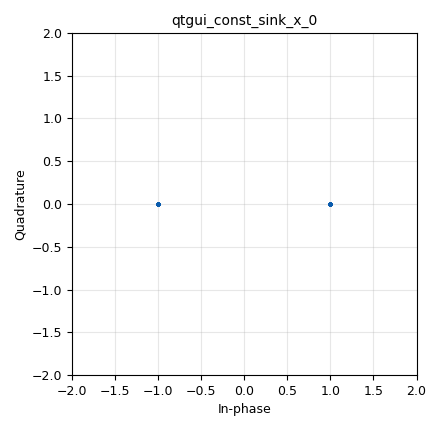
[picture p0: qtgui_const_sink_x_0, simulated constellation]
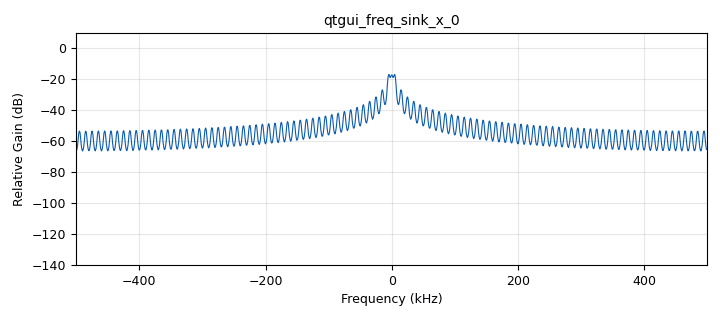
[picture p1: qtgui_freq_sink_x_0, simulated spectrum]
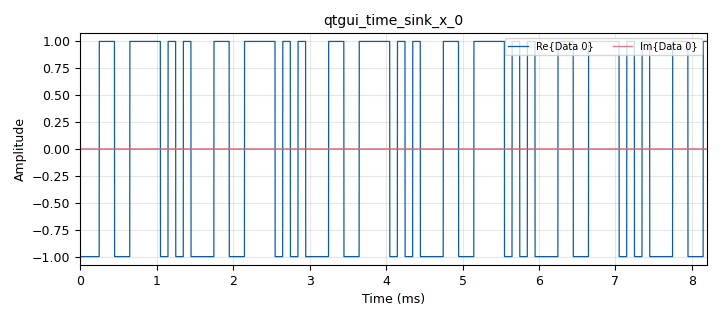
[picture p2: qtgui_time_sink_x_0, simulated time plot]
options:
  parameters:
    generate_options: qt_gui
    id: PSK
    output_language: python
    title: BPSK
  states: {}

blocks:
- name: central_freq
  id: variable
  parameters:
    value: 2.45e9
  states: {}
- name: samp_rate
  id: variable
  parameters:
    value: 1e6
  states: {}
- name: sps
  id: variable
  parameters:
    value: '100'
  states: {}
- name: tx_gain
  id: variable_qtgui_range
  parameters:
    start: '0'
    step: '1'
    stop: '10'
    value: '0'
  states: {}
- name: blocks_repeat_0
  id: blocks_repeat
  parameters:
    interp: sps
    type: complex
  states: {}
- name: blocks_vector_source_x_0
  id: blocks_vector_source_x
  parameters:
    repeat: 'True'
    type: byte
    vector: (0,1,0,1,0,0,0,1,1,0,0,1,1,1,1)
  states: {}
- name: digital_chunks_to_symbols_xx_0
  id: digital_chunks_to_symbols_xx
  parameters:
    dimension: '1'
    in_type: byte
    out_type: complex
    symbol_table: (-1,1)
  states: {}
- name: qtgui_const_sink_x_0
  id: qtgui_const_sink_x
  parameters:
    size: '1024'
    type: complex
  states: {}
- name: qtgui_freq_sink_x_0
  id: qtgui_freq_sink_x
  parameters:
    bw: samp_rate
    fc: '0'
    fftsize: '1024'
    type: complex
  states: {}
- name: qtgui_time_sink_x_0
  id: qtgui_time_sink_x
  parameters:
    size: 1024*8
    srate: samp_rate
    type: complex
  states: {}
- name: uhd_usrp_sink_0
  id: uhd_usrp_sink
  parameters:
    ant0: '"TX/RX"'
    bw0: samp_rate
    center_freq0: central_freq
    gain0: tx_gain
    samp_rate: samp_rate
    sync: none
    type: fc32
  states: {}

connections:
- [blocks_repeat_0, '0', qtgui_const_sink_x_0, '0']
- [blocks_repeat_0, '0', qtgui_freq_sink_x_0, '0']
- [blocks_repeat_0, '0', qtgui_time_sink_x_0, '0']
- [blocks_repeat_0, '0', uhd_usrp_sink_0, '0']
- [blocks_vector_source_x_0, '0', digital_chunks_to_symbols_xx_0, '0']
- [digital_chunks_to_symbols_xx_0, '0', blocks_repeat_0, '0']

metadata:
  file_format: 1
  grc_version: 3.10.12.0
